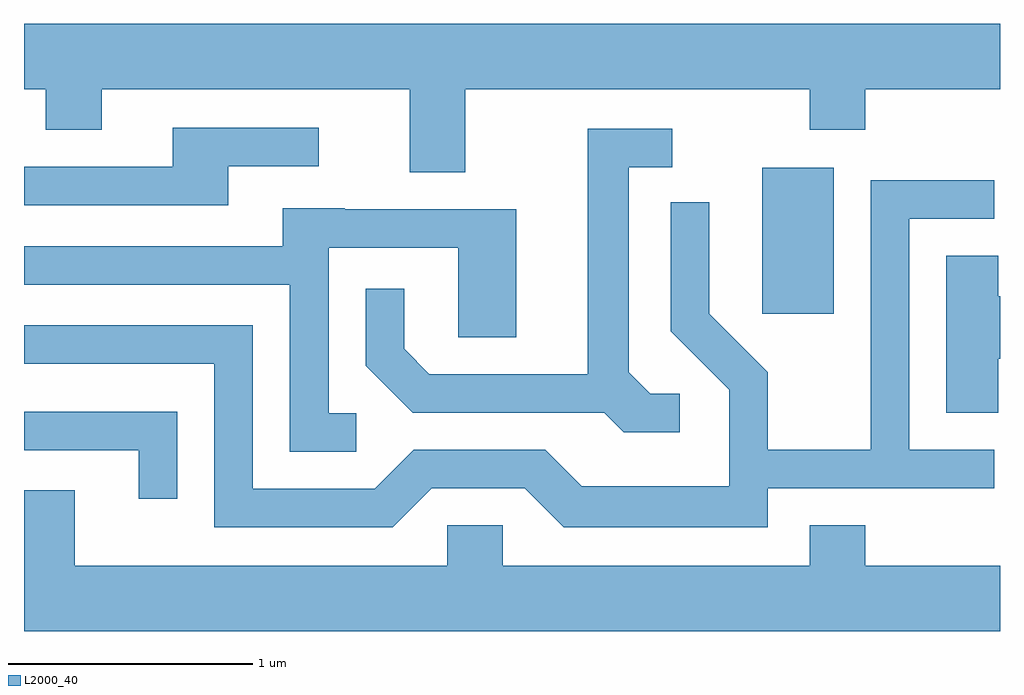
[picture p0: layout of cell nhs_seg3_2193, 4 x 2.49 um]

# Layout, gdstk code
import gdstk
lib = gdstk.Library(unit=1e-6, precision=1e-09)
def R(c, l, rs):  # rectangles x0, y0, x1, y1
    for r in rs: c.add(gdstk.rectangle(r[:2], r[2:], *l))
def P(c, l, *ps):  # polygons
    for p in ps: c.add(gdstk.Polygon(p, *l))
L2000_40 = (2000, 40)

nhs_seg3_2193 = lib.new_cell('nhs_seg3_2193')
R(nhs_seg3_2193, L2000_40, [(252.636,1151.736,252.929,1152.334)])
P(nhs_seg3_2193, L2000_40, [(249.611,1152.656),(249.701,1152.656),(249.701,1152.491),(249.929,1152.491),(249.929,1152.656),(251.191,1152.656),(251.191,1152.316),(251.419,1152.316),(251.419,1152.656),(252.831,1152.656),(252.831,1152.491),(253.059,1152.491),(253.059,1152.656),(253.611,1152.656),(253.611,1152.924),(249.611,1152.924)],
  [(250.449,1152.341),(250.818,1152.341),(250.818,1152.499),(250.221,1152.499),(250.221,1152.339),(249.611,1152.339),(249.611,1152.181),(250.449,1152.181)],
  [(252.298,1151.409),(252.177,1151.409),(252.089,1151.497),(252.089,1152.336),(252.268,1152.336),(252.268,1152.494),(251.921,1152.494),(251.921,1151.489),(251.272,1151.489),(251.169,1151.592),(251.169,1151.838),(251.011,1151.838),(251.011,1151.524),(251.204,1151.331),(251.989,1151.331),(252.069,1151.251),(252.298,1151.251)],
  [(251.282,1151.021),(251.664,1151.021),(251.824,1150.861),(252.659,1150.861),(252.659,1151.021),(253.588,1151.021),(253.588,1151.179),(253.239,1151.179),(253.239,1152.126),(253.588,1152.126),(253.588,1152.284),(253.081,1152.284),(253.081,1151.179),(252.659,1151.179),(252.659,1151.497),(252.419,1151.737),(252.419,1152.193),(252.261,1152.193),(252.261,1151.664),(252.501,1151.424),(252.501,1151.029),(251.897,1151.029),(251.747,1151.179),(251.209,1151.179),(251.049,1151.019),(250.549,1151.019),(250.549,1151.689),(249.611,1151.689),(249.611,1151.531),(250.391,1151.531),(250.391,1150.861),(251.122,1150.861)],
  [(250.973,1151.329),(250.859,1151.329),(250.859,1152.006),(251.391,1152.006),(251.391,1151.641),(251.629,1151.641),(251.629,1152.164),(250.925,1152.164),(250.925,1152.169),(250.671,1152.169),(250.671,1152.014),(249.611,1152.014),(249.611,1151.856),(250.701,1151.856),(250.701,1151.171),(250.973,1151.171)],
  [(253.604,1151.551),(253.611,1151.551),(253.611,1151.809),(253.604,1151.809),(253.604,1151.974),(253.391,1151.974),(253.391,1151.331),(253.604,1151.331)],
  [(250.239,1151.334),(249.611,1151.334),(249.611,1151.176),(250.081,1151.176),(250.081,1150.978),(250.239,1150.978)],
  [(249.611,1151.014),(249.611,1150.436),(253.611,1150.436),(253.611,1150.704),(253.059,1150.704),(253.059,1150.869),(252.831,1150.869),(252.831,1150.704),(251.574,1150.704),(251.574,1150.869),(251.346,1150.869),(251.346,1150.704),(249.819,1150.704),(249.819,1151.014)])

lib.write_gds('nhs_seg3_2193.gds')
